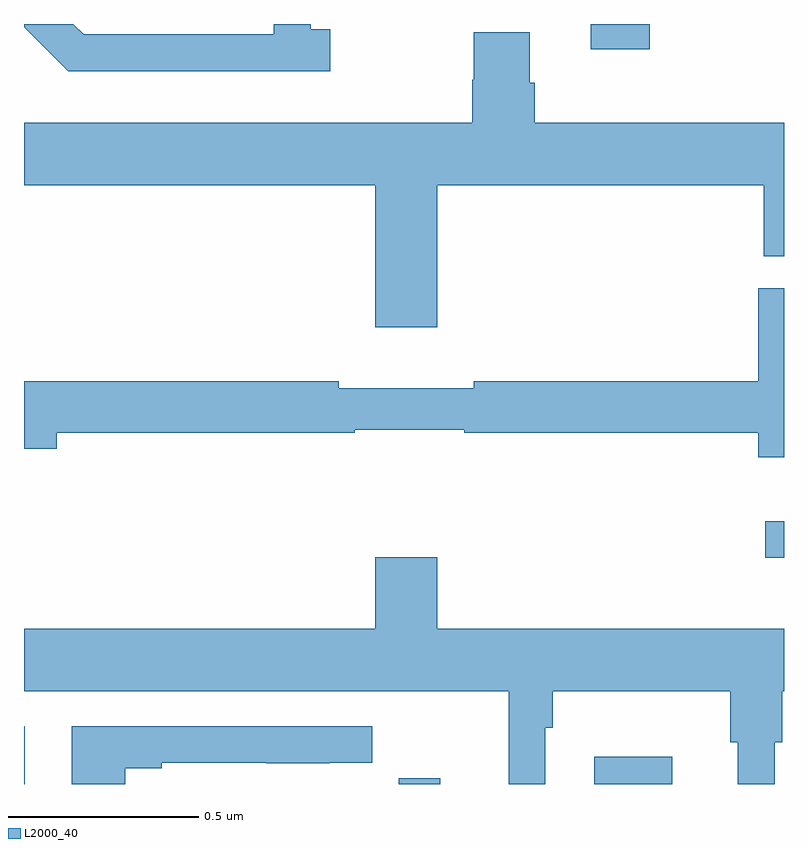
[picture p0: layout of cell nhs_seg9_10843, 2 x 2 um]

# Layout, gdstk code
import gdstk
lib = gdstk.Library(unit=1e-6, precision=1e-09)
def R(c, l, rs):  # rectangles x0, y0, x1, y1
    for r in rs: c.add(gdstk.rectangle(r[:2], r[2:], *l))
def P(c, l, *ps):  # polygons
    for p in ps: c.add(gdstk.Polygon(p, *l))
L2000_40 = (2000, 40)

nhs_seg9_10843 = lib.new_cell('nhs_seg9_10843')
R(nhs_seg9_10843, L2000_40, [(248,1205.5,248.002,1205.652), (248.986,1205.5,249.095,1205.515), (249.5,1205.5,249.706,1205.572), (249.951,1206.096,250,1206.192), (249.491,1207.434,249.647,1207.5)])
P(nhs_seg9_10843, L2000_40, [(248.806,1207.486),(248.754,1207.486),(248.754,1207.5),(248.657,1207.5),(248.657,1207.473),(248.157,1207.473),(248.13,1207.5),(248,1207.5),(248,1207.492),(248.116,1207.376),(248.806,1207.376)],
  [(249.088,1207.076),(249.947,1207.076),(249.947,1206.889),(250,1206.889),(250,1207.24),(249.344,1207.24),(249.344,1207.346),(249.331,1207.346),(249.331,1207.478),(249.184,1207.478),(249.184,1207.353),(249.179,1207.353),(249.179,1207.24),(248,1207.24),(248,1207.076),(248.924,1207.076),(248.924,1206.702),(249.088,1206.702)],
  [(250,1206.804),(249.932,1206.804),(249.932,1206.56),(249.184,1206.56),(249.184,1206.541),(248.828,1206.541),(248.828,1206.56),(248,1206.56),(248,1206.382),(248.086,1206.382),(248.086,1206.424),(248.871,1206.424),(248.871,1206.432),(249.159,1206.432),(249.159,1206.424),(249.932,1206.424),(249.932,1206.36),(250,1206.36)],
  [(249.372,1205.648),(249.392,1205.648),(249.392,1205.744),(249.859,1205.744),(249.859,1205.61),(249.878,1205.61),(249.878,1205.5),(249.976,1205.5),(249.976,1205.61),(249.995,1205.61),(249.995,1205.744),(250,1205.744),(250,1205.908),(249.088,1205.908),(249.088,1206.097),(248.924,1206.097),(248.924,1205.908),(248,1205.908),(248,1205.744),(249.275,1205.744),(249.275,1205.5),(249.372,1205.5)],
  [(248.266,1205.541),(248.362,1205.541),(248.362,1205.556),(248.638,1205.556),(248.638,1205.555),(248.804,1205.555),(248.804,1205.556),(248.917,1205.556),(248.917,1205.652),(248.126,1205.652),(248.126,1205.5),(248.266,1205.5)])

lib.write_gds('nhs_seg9_10843.gds')
